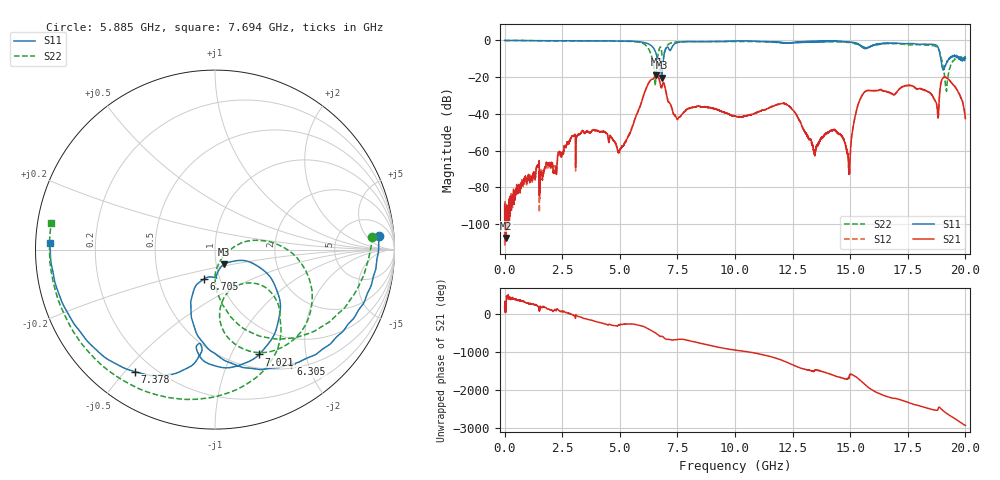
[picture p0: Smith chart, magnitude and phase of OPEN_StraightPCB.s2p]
#  HZ  S  RI  R  50.00
! Rohde & Schwarz Vector Network Analyzer
! Rohde-Schwarz,ZNB20-2Port,1311601062101763,2.70
! Created: UTC 3/9/2022, 3:32:36 PM
! freq[Hz]  re:S11  im:S11  re:S21  im:S21  re:S12  im:S12  re:S22  im:S22
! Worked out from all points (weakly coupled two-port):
!   5000 points, 100 kHz to 20 GHz, reference 50 ohm
!   highest |S21| = -18.64 dB at 6.589 GHz (marker M1); lowest = -107.7 dB at 40.11 MHz (marker M2)
!   lowest |S11| = -20.3 dB at 6.821 GHz (marker M3), VSWR 1.21, Z = 54.7 - j8.97 ohm
!   |S11| at or under -10 dB: 6.642 GHz to 6.893 GHz (251.4 MHz wide, 3.71 % of centre); 18.93 GHz to 19.28 GHz (344.6 MHz wide, 1.8 % of centre); 19.85408 GHz to 19.88593 GHz (31.85 MHz wide, 0.16 % of centre) (the widest 3 of 9)
!   |S22| runs from -27.7 to 0.0 dB; largest |S21 - S12| = 0.0035
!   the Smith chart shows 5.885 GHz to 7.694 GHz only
!   S11 on the Smith chart (normalised r, x): 5.885 GHz: 12, +12; 6.305 GHz: 0.56, -1.73; 6.705 GHz: 0.84, -0.29; 7.021 GHz: 0.66, -1.28; 7.378 GHz: 0.13, -0.53; 7.694 GHz: 0.04, +0.02
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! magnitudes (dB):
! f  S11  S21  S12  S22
! 100 kHz  0.0  -89.3  -99.9  0.0
! 40.11 MHz  0.0  -107.7  -95.4  0.0
! 3.337 GHz  -0.2  -49.8  -50.1  -0.2
! 4.989 GHz  -0.3  -60.4  -60.4  -0.4
! 5.885 GHz  -0.7  -35.8  -35.7  -1.1
! 6.305 GHz  -2.3  -22.1  -22.2  -6.0
! 6.589 GHz  -7.6  -18.6  -18.8  -15.0
! 6.669 GHz  -11.9  -20.0  -19.7  -6.9
! 6.705 GHz  -15.0  -21.1  -21.1  -5.0
! 6.821 GHz  -20.3  -25.5  -25.1  -6.8
! 7.021 GHz  -4.0  -29.2  -29.1  -3.5
! 7.378 GHz  -1.8  -40.6  -40.9  -0.9
! 7.694 GHz  -0.7  -40.3  -40.4  -0.7
! 10 GHz  -0.4  -41.2  -41.1  -0.5
! 12.17 GHz  -1.4  -34.5  -34.5  -1.3
! 13.33 GHz  -0.4  -55.7  -55.8  -0.7
! 14.93 GHz  -0.8  -66.4  -68.4  -1.1
! 15.54 GHz  -3.6  -29.5  -29.5  -3.3
! 16.67 GHz  -1.5  -28.1  -28.4  -1.7
! 18.71 GHz  -2.5  -33.3  -33.4  -3.2
! 19.14 GHz  -13.4  -20.1  -20.1  -25.5
! 20 GHz  -9.8  -42.6  -42.4  -8.7
